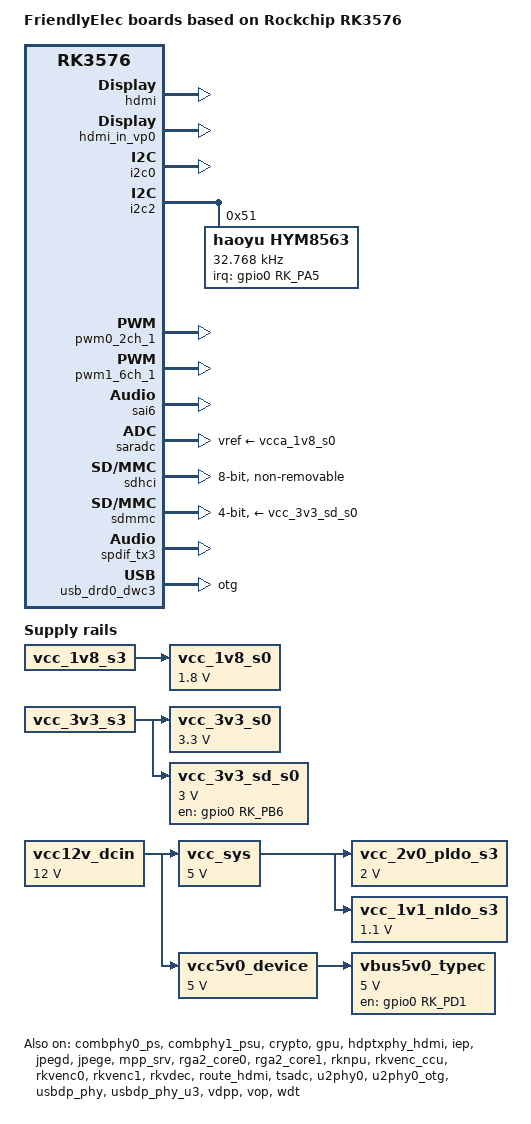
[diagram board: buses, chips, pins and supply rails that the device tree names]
// SPDX-License-Identifier: (GPL-2.0+ OR MIT)
/*
 * Copyright (c) 2025 FriendlyElec Computer Tech. Co., Ltd.
 * (http://www.friendlyelec.com)
 *
 * Copyright (c) 2024 Rockchip Electronics Co., Ltd.
 */

#include <dt-bindings/gpio/gpio.h>
#include <dt-bindings/pwm/pwm.h>
#include <dt-bindings/pinctrl/rockchip.h>
#include <dt-bindings/input/rk-input.h>
#include <dt-bindings/display/drm_mipi_dsi.h>
#include <dt-bindings/display/rockchip_vop.h>
#include <dt-bindings/usb/pd.h>
#include "rk3576.dtsi"
#include "rk3576-rk806.dtsi"
#include "rk3576-linux.dtsi"

/ {
	model = "FriendlyElec boards based on Rockchip RK3576";
	compatible = "friendlyelec,nanopi5",
		     "rockchip,rk3576";

	aliases {
		mmc0 = &sdmmc;
		mmc1 = &sdio;
		mmc2 = &sdhci;
	};

	hdmi_sound: hdmi-sound {
		compatible = "rockchip,hdmi";
		rockchip,mclk-fs = <128>;
		rockchip,card-name = "rockchip,hdmi0";
		rockchip,cpu = <&sai6>;
		rockchip,codec = <&hdmi>;
		rockchip,jack-det;
	};

	sdio_pwrseq: sdio-pwrseq {
		compatible = "mmc-pwrseq-simple";
		pinctrl-names = "default";
		pinctrl-0 = <&wifi_poweren_gpio>;

		/*
		 * On the module itself this is one of these (depending
		 * on the actual card populated):
		 * - SDIO_RESET_L_WL_REG_ON
		 * - PDN (power down when low)
		 */
		post-power-on-delay-ms = <200>;
		reset-gpios = <&gpio1 RK_PC2 GPIO_ACTIVE_LOW>;
		status = "disabled";
	};

	vcc_1v8_s0: vcc-1v8-s0 {
		compatible = "regulator-fixed";
		regulator-name = "vcc_1v8_s0";
		regulator-boot-on;
		regulator-always-on;
		regulator-min-microvolt = <1800000>;
		regulator-max-microvolt = <1800000>;
		vin-supply = <&vcc_1v8_s3>;
	};

	vcc_3v3_s0: vcc-3v3-s0 {
		compatible = "regulator-fixed";
		regulator-name = "vcc_3v3_s0";
		regulator-boot-on;
		regulator-always-on;
		regulator-min-microvolt = <3300000>;
		regulator-max-microvolt = <3300000>;
		vin-supply = <&vcc_3v3_s3>;
	};

	vbus5v0_typec: vbus5v0-typec {
		compatible = "regulator-fixed";
		regulator-name = "vbus5v0_typec";
		regulator-min-microvolt = <5000000>;
		regulator-max-microvolt = <5000000>;
		enable-active-high;
		gpio = <&gpio0 RK_PD1 GPIO_ACTIVE_HIGH>;
		vin-supply = <&vcc5v0_device>;
		pinctrl-names = "default";
		pinctrl-0 = <&usb_otg0_pwren>;
	};

	vcc12v_dcin: vcc12v-dcin {
		compatible = "regulator-fixed";
		regulator-name = "vcc12v_dcin";
		regulator-always-on;
		regulator-boot-on;
		regulator-min-microvolt = <12000000>;
		regulator-max-microvolt = <12000000>;
	};

	vcc_sys: vcc5v0-sys {
		compatible = "regulator-fixed";
		regulator-name = "vcc_sys";
		regulator-always-on;
		regulator-boot-on;
		regulator-min-microvolt = <5000000>;
		regulator-max-microvolt = <5000000>;
		vin-supply = <&vcc12v_dcin>;
	};

	vcc5v0_device: vcc5v0-device {
		compatible = "regulator-fixed";
		regulator-name = "vcc5v0_device";
		regulator-always-on;
		regulator-boot-on;
		regulator-min-microvolt = <5000000>;
		regulator-max-microvolt = <5000000>;
		vin-supply = <&vcc12v_dcin>;
	};

	vcc_2v0_pldo_s3: vcc-2v0-pldo-s3 {
		compatible = "regulator-fixed";
		regulator-name = "vcc_2v0_pldo_s3";
		regulator-boot-on;
		regulator-always-on;
		regulator-min-microvolt = <2000000>;
		regulator-max-microvolt = <2000000>;
		vin-supply = <&vcc_sys>;
	};

	vcc_1v1_nldo_s3: vcc-1v1-nldo-s3 {
		compatible = "regulator-fixed";
		regulator-name = "vcc_1v1_nldo_s3";
		regulator-boot-on;
		regulator-always-on;
		regulator-min-microvolt = <1100000>;
		regulator-max-microvolt = <1100000>;
		vin-supply = <&vcc_sys>;
	};

	vcc_3v3_sd_s0: vcc-3v3-sd-s0-regulator {
		compatible = "regulator-fixed";
		enable-active-high;
		gpio = <&gpio0 RK_PB6 GPIO_ACTIVE_HIGH>;
		pinctrl-names = "default";
		pinctrl-0 = <&sd_s0_pwr>;
		regulator-boot-on;
		regulator-max-microvolt = <3000000>;
		regulator-min-microvolt = <3000000>;
		regulator-name = "vcc_3v3_sd_s0";
		vin-supply = <&vcc_3v3_s3>;
	};
};

&combphy0_ps {
	status = "okay";
};

&combphy1_psu {
	status = "okay";
};

&cpu_l0 {
	cpu-supply = <&vdd_cpu_lit_s0>;
};

&cpu_b0 {
	cpu-supply = <&vdd_cpu_big_s0>;
};

&crypto {
	status = "okay";
};

&display_subsystem {
	clocks = <&hdptxphy_hdmi>;
	clock-names = "hdmi0_phy_pll";
};

&gpu {
	mali-supply = <&vdd_gpu_s0>;
	status = "okay";
};

&hdmi {
	status = "okay";
	cec-enable;
	enable-gpios = <&gpio4 RK_PC6 GPIO_ACTIVE_HIGH>;
	rockchip,sda-falling-delay-ns = <360>;
};

&hdmi_in_vp0 {
	status = "okay";
};

&hdptxphy_hdmi {
	status = "okay";
};

&i2c0 {
	pinctrl-0 = <&i2c0m1_xfer>;
	status = "okay";
};

&i2c2 {
	status = "okay";

	hym8563: hym8563@51 {
		compatible = "haoyu,hym8563";
		reg = <0x51>;
		#clock-cells = <0>;
		clock-frequency = <32768>;
		clock-output-names = "hym8563";
		pinctrl-names = "default";
		pinctrl-0 = <&hym8563_int>;
		interrupt-parent = <&gpio0>;
		interrupts = <RK_PA5 IRQ_TYPE_LEVEL_LOW>;
		wakeup-source;
	};
};

&iep {
	status = "okay";
};

&iep_mmu {
	status = "okay";
};

&jpegd {
	status = "okay";
};

&jpege {
	status = "okay";
};

&jpeg_mmu {
	status = "okay";
};

&mpp_srv {
	status = "okay";
};

&pinctrl {
	hym8563 {
		hym8563_int: hym8563-int {
			rockchip,pins = <0 RK_PA5 RK_FUNC_GPIO &pcfg_pull_up>;
		};
	};

	pcie {
		pcie_m2_pwren: pcie-m2-pwren {
			rockchip,pins = <0 RK_PD3 RK_FUNC_GPIO &pcfg_pull_none>;
		};

		pcie_m2_prsnt: pcie-m20-prsnt {
			rockchip,pins = <4 RK_PC4 RK_FUNC_GPIO &pcfg_pull_up>;
		};
	};

	sdmmc {
		sd_s0_pwr: sd-s0-pwr {
			rockchip,pins = <0 RK_PB6 RK_FUNC_GPIO &pcfg_pull_up>;
		};
	};

	wireless-wlan {
		/omit-if-no-ref/
		wifi_host_wake_irq: wifi-host-wake-irq {
			rockchip,pins = <0 RK_PB0 RK_FUNC_GPIO &pcfg_pull_down>;
		};

		wifi_poweren_gpio: wifi-poweren-gpio {
			rockchip,pins = <1 RK_PC2 RK_FUNC_GPIO &pcfg_pull_up>;
		};
	};

	usb {
		usb_host_pwren: usb-host-pwren {
			rockchip,pins = <0 RK_PC7 RK_FUNC_GPIO &pcfg_pull_none>;
		};

		usb_otg0_pwren: usb-otg0-pwren {
			rockchip,pins = <0 RK_PD1 RK_FUNC_GPIO &pcfg_pull_none>;
		};
	};
};

&pwm0_2ch_1 {
	status = "okay";
};

&pwm1_6ch_1 {
	status = "okay";
	pinctrl-0 = <&pwm1m0_ch1>;
};

&rga2_core0 {
	status = "okay";
};

&rga2_core0_mmu {
	status = "okay";
};

&rga2_core1 {
	status = "okay";
};

&rga2_core1_mmu {
	status = "okay";
};

&rknpu {
	rknpu-supply = <&vdd_npu_s0>;
	status = "okay";
};

&rknpu_mmu {
	status = "okay";
};

&rkvenc_ccu {
	status = "okay";
};

&rkvenc0 {
	status = "okay";
};

&rkvenc0_mmu {
	status = "okay";
};

&rkvenc1 {
	status = "okay";
};

&rkvenc1_mmu {
	status = "okay";
};

&rkvdec {
	status = "okay";
};

&rkvdec_mmu {
	status = "okay";
};

&rockchip_suspend {
	status = "okay";
	rockchip,sleep-debug-en = <1>;

	rockchip,sleep-io-ret-config = <
		(0
		| RKPM_VCCIO3_RET_EN
		)
	>;

	rockchip,regulator-on-before-mem = <&vdd_npu_s0>;
};

&route_hdmi {
	status = "okay";
	connect = <&vp0_out_hdmi>;
};

&sai6 {
	status = "okay";
};

&saradc {
	status = "okay";
	vref-supply = <&vcca_1v8_s0>;
};


&sdhci {
	bus-width = <8>;
	no-sdio;
	no-sd;
	non-removable;
	max-frequency = <200000000>;
	mmc-hs400-1_8v;
	mmc-hs400-enhanced-strobe;
	full-pwr-cycle-in-suspend;
	status = "okay";
};

&sdio {
	max-frequency = <200000000>;
	no-sd;
	no-mmc;
	bus-width = <4>;
	disable-wp;
	cap-sd-highspeed;
	cap-sdio-irq;
	keep-power-in-suspend;
	mmc-pwrseq = <&sdio_pwrseq>;
	non-removable;
	pinctrl-names = "default";
	pinctrl-0 = <&sdmmc1m0_bus4 &sdmmc1m0_clk &sdmmc1m0_cmd>;
	sd-uhs-sdr104;
	status = "disabled";
};

&sdmmc {
	max-frequency = <200000000>;
	no-sdio;
	no-mmc;
	bus-width = <4>;
	cap-mmc-highspeed;
	cap-sd-highspeed;
	disable-wp;
	sd-uhs-sdr104;
	vmmc-supply = <&vcc_3v3_sd_s0>;
	vqmmc-supply = <&vccio_sd_s0>;
	pinctrl-names = "default";
	pinctrl-0 = <&sdmmc0_clk &sdmmc0_cmd &sdmmc0_det &sdmmc0_bus4>;
	status = "okay";
};

&spdif_tx3 {
	status = "okay";
};

&tsadc {
	status = "okay";
};

&u2phy0 {
	status = "okay";
};

&u2phy0_otg {
	status = "okay";
	phy-supply = <&vbus5v0_typec>;
};

&usbdp_phy {
	status = "okay";
};

&usbdp_phy_u3 {
	status = "okay";
};

&usb_drd0_dwc3 {
	dr_mode = "otg";
	extcon = <&u2phy0>;
	status = "okay";
};

&vdpp {
	status = "okay";
};

&vop {
	status = "okay";
	vop-supply = <&vdd_logic_s0>;
};

&vop_mmu {
	status = "okay";
};

&wdt {
	status = "okay";
};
